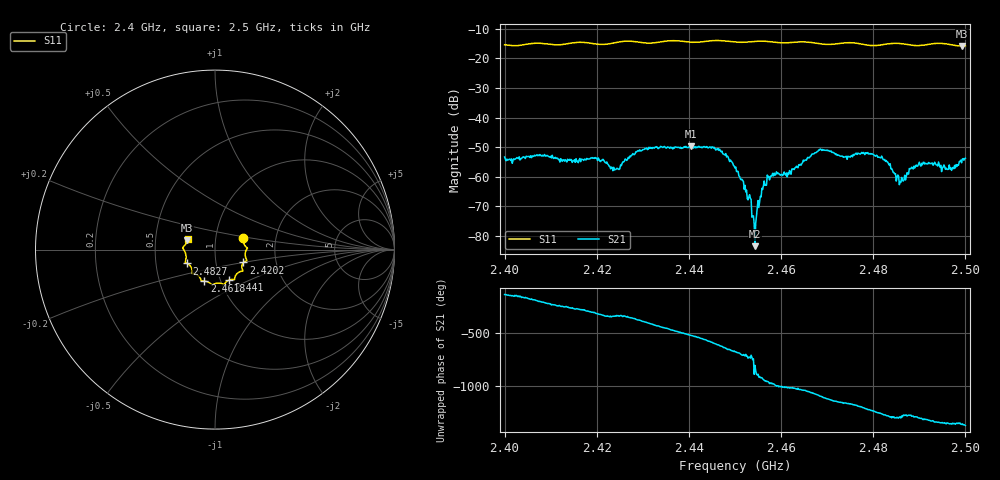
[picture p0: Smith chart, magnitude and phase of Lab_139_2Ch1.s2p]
# Hz S RI R 50
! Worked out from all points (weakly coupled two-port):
!   601 points, 2.4 GHz to 2.5 GHz, reference 50 ohm
!   highest |S21| = -49.67 dB at 2.4405 GHz (marker M1); lowest = -83.5 dB at 2.4543 GHz (marker M2)
!   lowest |S11| = -15.8 dB at 2.4993 GHz (marker M3), VSWR 1.39, Z = 36.5 + j3.84 ohm
!   |S11| at or under -10 dB: start of sweep to end of sweep
!   S12 and S22 are empty: the file has one direction only
!   S11 on the Smith chart (normalised r, x): 2.4 GHz: 1.36, +0.18; 2.4202 GHz: 1.36, -0.20; 2.441 GHz: 1.10, -0.39; 2.4618 GHz: 0.84, -0.30; 2.4827 GHz: 0.72, -0.12; 2.5 GHz: 0.73, +0.09
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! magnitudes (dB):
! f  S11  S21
! 2.4 GHz  -15.4  -53.3
! 2.4167 GHz  -14.5  -54.0
! 2.4202 GHz  -15.2  -54.5
! 2.4243 GHz  -14.5  -57.2
! 2.4288 GHz  -14.4  -51.3
! 2.4333 GHz  -14.5  -50.5
! 2.4405 GHz  -14.5  -49.7
! 2.441 GHz  -14.6  -50.3
! 2.4467 GHz  -13.9  -50.7
! 2.45 GHz  -14.4  -57.0
! 2.453 GHz  -14.4  -66.9
! 2.4543 GHz  -14.2  -83.5
! 2.4568 GHz  -14.2  -62.9
! 2.4618 GHz  -14.6  -57.9
! 2.4667 GHz  -14.6  -52.4
! 2.4827 GHz  -15.2  -54.8
! 2.4833 GHz  -15.0  -55.7
! 2.4862 GHz  -15.0  -60.2
! 2.4897 GHz  -15.7  -56.4
! 2.4965 GHz  -15.3  -56.0
! 2.4993 GHz  -15.8  -54.0
! 2.5 GHz  -15.7  -53.7
